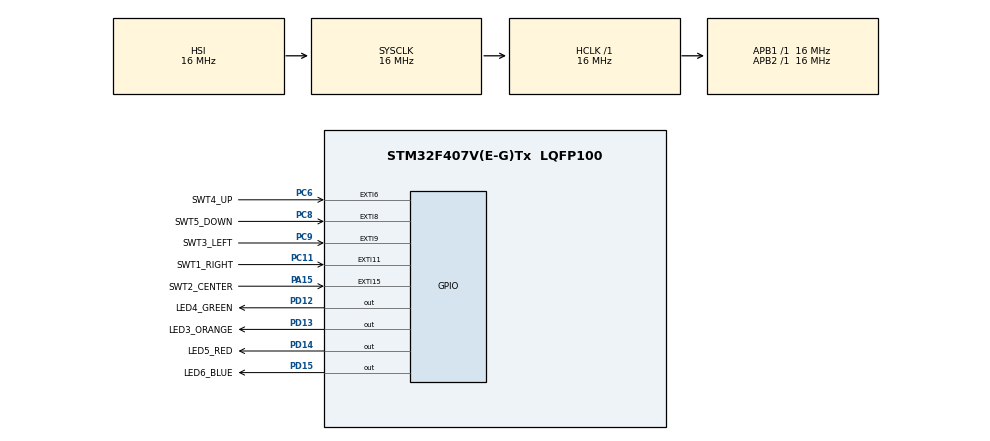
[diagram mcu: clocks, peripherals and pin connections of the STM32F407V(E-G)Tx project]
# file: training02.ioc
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Mcu.Family=STM32F4
Mcu.Name=STM32F407V(E-G)Tx
Mcu.Package=LQFP100
NVIC.EXTI15_10_IRQn=true\:0\:0\:false\:false\:true\:true\:true
NVIC.EXTI9_5_IRQn=true\:0\:0\:false\:false\:true\:true\:true
NVIC.PriorityGroup=NVIC_PRIORITYGROUP_4
PA13.Mode=Serial_Wire
PA13.Signal=SYS_JTMS-SWDIO
PA14.Mode=Serial_Wire
PA14.Signal=SYS_JTCK-SWCLK
PA15.GPIO_Label=SWT2_CENTER
PA15.GPIO_ModeDefaultEXTI=GPIO_MODE_IT_FALLING
PA15.Signal=GPXTI15
PC11.GPIO_Label=SWT1_RIGHT
PC11.GPIO_ModeDefaultEXTI=GPIO_MODE_IT_FALLING
PC11.Signal=GPXTI11
PC6.GPIO_Label=SWT4_UP
PC6.GPIO_ModeDefaultEXTI=GPIO_MODE_IT_FALLING
PC6.Signal=GPXTI6
PC8.GPIO_Label=SWT5_DOWN
PC8.GPIO_ModeDefaultEXTI=GPIO_MODE_IT_FALLING
PC8.Signal=GPXTI8
PC9.GPIO_Label=SWT3_LEFT
PC9.GPIO_ModeDefaultEXTI=GPIO_MODE_IT_FALLING
PC9.Signal=GPXTI9
PD12.GPIO_Label=LED4_GREEN
PD12.Signal=GPIO_Output
PD13.GPIO_Label=LED3_ORANGE
PD13.Signal=GPIO_Output
PD14.GPIO_Label=LED5_RED
PD14.Signal=GPIO_Output
PD15.GPIO_Label=LED6_BLUE
PD15.Signal=GPIO_Output
ProjectManager.HeapSize=0x200
ProjectManager.StackSize=0x400
ProjectManager.TargetToolchain=STM32CubeIDE
RCC.AHBFreq_Value=16000000
RCC.APB1Freq_Value=16000000
RCC.APB2Freq_Value=16000000
RCC.CortexFreq_Value=16000000
RCC.HSE_VALUE=25000000
RCC.HSI_VALUE=16000000
RCC.LSE_VALUE=32768
RCC.SYSCLKFreq_VALUE=16000000
RCC.VCOOutputFreq_Value=192000000
board=custom

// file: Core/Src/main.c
/* USER CODE BEGIN Header */
/**
  ******************************************************************************
  * @file           : main.c
  * @brief          : Main program body
  ******************************************************************************
  * @attention
  *
  * <h2><center>&copy; Copyright (c) 2021 STMicroelectronics.
  * All rights reserved.</center></h2>
  *
  * This software component is licensed by ST under BSD 3-Clause license,
  * the "License"; You may not use this file except in compliance with the
  * License. You may obtain a copy of the License at:
  *                        opensource.org/licenses/BSD-3-Clause
  *
  ******************************************************************************
  */
/* USER CODE END Header */
#include "main.h"

/* USER CODE BEGIN PM */
#define GET_PIN_STATE(state, bit) ((state & (1 << bit)) != 0)
/* USER CODE END PM */

/* USER CODE BEGIN PV */
#define LED_ANIMATION_DELAY_MIN 100
#define LED_ANIMATION_DELAY_MAX 500
#define LED_ANIMATION_DELAY_STEP 50

uint16_t ledAnimationDelay = 250;

#define LED_PORT GPIOD
uint16_t ledsPin[4] = {LED3_ORANGE_Pin, LED4_GREEN_Pin, LED6_BLUE_Pin, LED5_RED_Pin};

volatile uint8_t ledAnimationMode = 0;
volatile uint8_t ledAnimationLights = 1;
volatile uint8_t ledAnimationDirection = 0;
volatile uint8_t ledAnimationStep = 0;
volatile uint8_t ledAnimationActive = 1;

uint8_t upIsPressed = 0;
uint8_t downIsPressed = 0;
/* USER CODE END PV */

void SystemClock_Config(void);
static void MX_GPIO_Init(void);
/* USER CODE BEGIN PFP */
void ledDrawStep(void);
/* USER CODE END PFP */

/* USER CODE BEGIN 0 */
/**
  * @brief  EXTI line detection callbacks.
  * @param  GPIO_Pin Specifies the pins connected EXTI line
  * @retval None
  */
void HAL_GPIO_EXTI_Callback(uint16_t GPIO_Pin)
{
	switch(GPIO_Pin) {
	case SWT2_CENTER_Pin:
		// Toggle animation
		ledAnimationActive = ! ledAnimationActive;
		break;
	case SWT1_RIGHT_Pin:
		// Next mode
		if (ledAnimationMode < 5)
			ledAnimationMode += 1;
		ledAnimationDirection = ledAnimationMode / 3;
		ledAnimationLights = ledAnimationMode % 3 + 1;
		if (ledAnimationDirection) ledAnimationLights = 4-ledAnimationLights;
		break;
	case SWT3_LEFT_Pin:
		// Previous mode
		if (ledAnimationMode > 0)
			ledAnimationMode -= 1;
		ledAnimationDirection = ledAnimationMode / 3;
		ledAnimationLights = ledAnimationMode % 3 + 1;
		if (ledAnimationDirection) ledAnimationLights = 4-ledAnimationLights;
		break;
	case SWT5_DOWN_Pin:
		// Decrease speed
		ledAnimationDelay += LED_ANIMATION_DELAY_STEP;
		if (ledAnimationDelay > LED_ANIMATION_DELAY_MAX)
			ledAnimationDelay = LED_ANIMATION_DELAY_MAX;
		break;
	case SWT4_UP_Pin:
		// Increase speed
		ledAnimationDelay -= LED_ANIMATION_DELAY_STEP;
		if (ledAnimationDelay < LED_ANIMATION_DELAY_MIN)
			ledAnimationDelay = LED_ANIMATION_DELAY_MIN;
		break;
	}
}

/**
  * @brief This function provides minimum delay (in milliseconds) based
  *        on variable incremented.
  * @note Based on default implementation but with sleep between ms tick,
  *       SysTick timer is the source of time base.
  *       It is used to generate interrupts at regular time intervals where uwTick
  *       is incremented.
  * @note This function is declared as __weak to be overwritten in case of other
  *       implementations in user file.
  * @param Delay specifies the delay time length, in milliseconds.
  * @retval None
  */
void HAL_Delay(uint32_t Delay)
{
  uint32_t tickstart = HAL_GetTick();
  uint32_t wait = Delay;

  /* Add a freq to guarantee minimum wait */
  if (wait < HAL_MAX_DELAY)
  {
    wait += (uint32_t)(uwTickFreq);
  }

  while((HAL_GetTick() - tickstart) < wait)
  {
	  HAL_PWR_EnterSLEEPMode(PWR_MAINREGULATOR_ON, PWR_SLEEPENTRY_WFI);
  }
}

/**
 * Light current "frame"
 */
void ledDrawStep(void)
{
	uint8_t ledState = 1;
	for(int i = 1; i<ledAnimationLights; i++)
		ledState = (ledState << 1) + 1;
	ledState = ledState << ledAnimationStep;
	ledState = (ledState & 0b1111) | (ledState >> 4); // merge actual and left shifted state for emulate circular 4 bit rotate
	for (uint8_t i = 0; i<4; i++)
		HAL_GPIO_WritePin(LED_PORT, ledsPin[i], GET_PIN_STATE(ledState, i));
}
/* USER CODE END 0 */

int main(void)
{

  /* MCU Configuration--------------------------------------------------------*/

  /* Reset of all peripherals, Initializes the Flash interface and the Systick. */
  HAL_Init();

  /* Configure the system clock */
  SystemClock_Config();

  /* Initialize all configured peripherals */
  MX_GPIO_Init();

  /* Infinite loop */
  /* USER CODE BEGIN WHILE */
  while (1)
  {
	  if (ledAnimationActive) {
		  ledDrawStep();

		  HAL_Delay(ledAnimationDelay);

		  if (ledAnimationDirection)
			  ledAnimationStep += 1;
		  else
			  ledAnimationStep -= 1;
		  ledAnimationStep %= 4;
	  } else { // (ledAnimationActive)
		  for (uint8_t i = 0; i<4; i++)
			  HAL_GPIO_WritePin(LED_PORT, ledsPin[i], GPIO_PIN_RESET);
		  HAL_PWR_EnterSLEEPMode(PWR_MAINREGULATOR_ON, PWR_SLEEPENTRY_WFI); // sleep to next interrupt
	  }
    /* USER CODE END WHILE */

  }
}

void SystemClock_Config(void)
{
  RCC_OscInitTypeDef RCC_OscInitStruct = {0};
  RCC_ClkInitTypeDef RCC_ClkInitStruct = {0};

  /** Configure the main internal regulator output voltage
  */
  __HAL_RCC_PWR_CLK_ENABLE();
  __HAL_PWR_VOLTAGESCALING_CONFIG(PWR_REGULATOR_VOLTAGE_SCALE1);
  /** Initializes the RCC Oscillators according to the specified parameters
  * in the RCC_OscInitTypeDef structure.
  */
  RCC_OscInitStruct.OscillatorType = RCC_OSCILLATORTYPE_HSI;
  RCC_OscInitStruct.HSIState = RCC_HSI_ON;
  RCC_OscInitStruct.HSICalibrationValue = RCC_HSICALIBRATION_DEFAULT;
  RCC_OscInitStruct.PLL.PLLState = RCC_PLL_NONE;
  if (HAL_RCC_OscConfig(&RCC_OscInitStruct) != HAL_OK)
  {
    Error_Handler();
  }
  /** Initializes the CPU, AHB and APB buses clocks
  */
  RCC_ClkInitStruct.ClockType = RCC_CLOCKTYPE_HCLK|RCC_CLOCKTYPE_SYSCLK
                              |RCC_CLOCKTYPE_PCLK1|RCC_CLOCKTYPE_PCLK2;
  RCC_ClkInitStruct.SYSCLKSource = RCC_SYSCLKSOURCE_HSI;
  RCC_ClkInitStruct.AHBCLKDivider = RCC_SYSCLK_DIV1;
  RCC_ClkInitStruct.APB1CLKDivider = RCC_HCLK_DIV1;
  RCC_ClkInitStruct.APB2CLKDivider = RCC_HCLK_DIV1;

  if (HAL_RCC_ClockConfig(&RCC_ClkInitStruct, FLASH_LATENCY_0) != HAL_OK)
  {
    Error_Handler();
  }
}

static void MX_GPIO_Init(void)
{
  GPIO_InitTypeDef GPIO_InitStruct = {0};

  /* GPIO Ports Clock Enable */
  __HAL_RCC_GPIOD_CLK_ENABLE();
  __HAL_RCC_GPIOC_CLK_ENABLE();
  __HAL_RCC_GPIOA_CLK_ENABLE();

  /*Configure GPIO pin Output Level */
  HAL_GPIO_WritePin(GPIOD, LED4_GREEN_Pin|LED3_ORANGE_Pin|LED5_RED_Pin|LED6_BLUE_Pin, GPIO_PIN_RESET);

  /*Configure GPIO pins : LED4_GREEN_Pin LED3_ORANGE_Pin LED5_RED_Pin LED6_BLUE_Pin */
  GPIO_InitStruct.Pin = LED4_GREEN_Pin|LED3_ORANGE_Pin|LED5_RED_Pin|LED6_BLUE_Pin;
  GPIO_InitStruct.Mode = GPIO_MODE_OUTPUT_PP;
  GPIO_InitStruct.Pull = GPIO_NOPULL;
  GPIO_InitStruct.Speed = GPIO_SPEED_FREQ_LOW;
  HAL_GPIO_Init(GPIOD, &GPIO_InitStruct);

  /*Configure GPIO pins : SWT4_UP_Pin SWT5_DOWN_Pin SWT3_LEFT_Pin SWT1_RIGHT_Pin */
  GPIO_InitStruct.Pin = SWT4_UP_Pin|SWT5_DOWN_Pin|SWT3_LEFT_Pin|SWT1_RIGHT_Pin;
  GPIO_InitStruct.Mode = GPIO_MODE_IT_FALLING;
  GPIO_InitStruct.Pull = GPIO_NOPULL;
  HAL_GPIO_Init(GPIOC, &GPIO_InitStruct);

  /*Configure GPIO pin : SWT2_CENTER_Pin */
  GPIO_InitStruct.Pin = SWT2_CENTER_Pin;
  GPIO_InitStruct.Mode = GPIO_MODE_IT_FALLING;
  GPIO_InitStruct.Pull = GPIO_NOPULL;
  HAL_GPIO_Init(SWT2_CENTER_GPIO_Port, &GPIO_InitStruct);

  /* EXTI interrupt init*/
  HAL_NVIC_SetPriority(EXTI9_5_IRQn, 0, 0);
  HAL_NVIC_EnableIRQ(EXTI9_5_IRQn);

  HAL_NVIC_SetPriority(EXTI15_10_IRQn, 0, 0);
  HAL_NVIC_EnableIRQ(EXTI15_10_IRQn);

}

void Error_Handler(void)
{
  __disable_irq();
  while (1)
  {
  }
}

/************************ (C) COPYRIGHT STMicroelectronics *****END OF FILE****/
